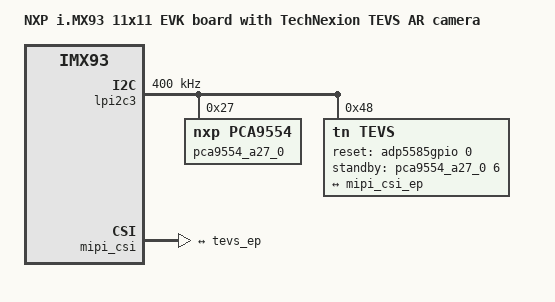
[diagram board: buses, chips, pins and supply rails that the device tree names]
// SPDX-License-Identifier: (GPL-2.0+ OR MIT)
/*
 * Copyright 2024 TechNexion Ltd.
 *
 * Author: Nian Yang <nian.yang@technexion.com>
 *
 */

#include "imx93-11x11-evk.dts"

/ {
	model = "NXP i.MX93 11x11 EVK board with TechNexion TEVS AR camera";
	
	/delete-node/ regulator-dvdd_sel;
	/delete-node/ regulator-dvdd;
	/delete-node/ regulator-vdd;
	/delete-node/ regulator-vddo;
	/delete-node/ regulator-vaa_sel;
	/delete-node/ regulator-avdd;
};

&lpi2c3 {
	clock-frequency = <400000>;

	/delete-node/ ap1302_mipi@3c;
	/delete-node/ mfd-isp@34;
	
	pca9554_a27_0: pca9554@27 {
		compatible = "nxp,pca9554";
		pinctrl-names = "default";
		reg = <0x27>;
		gpio-controller;
		#gpio-cells = <2>;
		status = "okay";
		gpio-line-names = "EXPOSURE_TRIG_IN1", "FLASH_OUT1", "CAM_SHUTTER1", "XVS1",
							"CSI1_PDB", "CSI1_INT", "INFO_TRIG_IN1", "CSI1_RST_N";
	};

	tevs: tevs@48 {
		compatible = "tn,tevs";
		reg = <0x48>;

		reset-gpios   = <&adp5585gpio 0 GPIO_ACTIVE_HIGH>;
		standby-gpios = <&pca9554_a27_0 6 GPIO_ACTIVE_HIGH>;

		data-lanes = <2>;
		continuous-clock = <0>;
		status = "okay";

		port {
			tevs_ep: endpoint {
				remote-endpoint = <&mipi_csi_ep>;
			};
		};
	};
};

&mipi_csi {
	#address-cells = <1>;
	#size-cells = <0>;
	status = "okay";

	port@0 {
		reg = <0>;
		mipi_csi_ep: endpoint {
			remote-endpoint = <&tevs_ep>;
			data-lanes = <2>;
			cfg-clk-range = <28>;
			hs-clk-range = <0x16>;
			bus-type = <4>;
		};
	};
};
